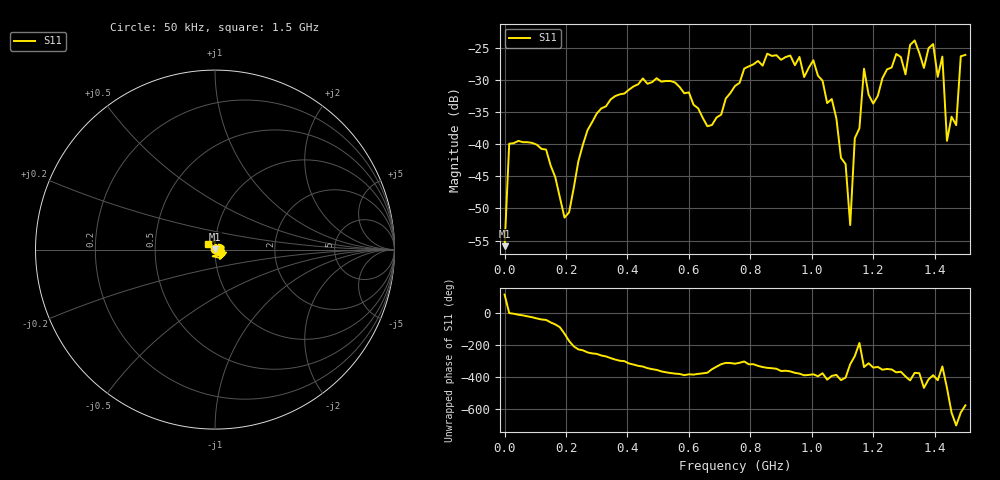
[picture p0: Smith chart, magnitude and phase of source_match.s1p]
! Created with skrf 1.8.0 (http://scikit-rf.org).
# Hz S RI R 50.0
!freq ReS11 ImS11
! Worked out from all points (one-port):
!   101 points, 50 kHz to 1.5 GHz, reference 50 ohm
!   lowest |S11| = -55.9 dB at 50 kHz (marker M1), VSWR 1.00, Z = 49.9 + j0.145 ohm
!   |S11| at or under -10 dB: start of sweep to end of sweep
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50000  -0.000688 0.00146
1.50495e7  0.0101 -0.000157
1.350455e8  0.00657 -0.00627
1.950435e8  -0.00173 -0.00206
2.70041e8  -0.00503 0.0118
3.750375e8  0.0119 0.0213
5.70031e8  0.0258 -0.0105
6.60028e8  0.0134 -0.00343
7.50025e8  0.021 0.0191
9.450185e8  0.0397 -0.0106
1.065014e9  0.0186 -0.0126
1.110013e9  0.005 -0.00491
1.125012e9  0.00183 0.00148
1.140012e9  5.24e-05 0.0111
1.155012e9  -0.0132 0.00181
1.170011e9  0.036 0.0141
1.20001e9  0.0197 0.0064
1.275008e9  0.0492 -0.0104
1.305006e9  0.0277 -0.0212
1.320006e9  0.0275 -0.0524
1.365004e9  -0.0127 -0.0371
1.395004e9  0.0523 -0.0296
1.410003e9  0.016 -0.0293
1.425002e9  0.0434 0.0206
1.440002e9  -0.00348 -0.01
1.470001e9  0.0135 0.0038
1.485e9  -0.00567 0.0479
1.5e9  -0.0389 0.0306
